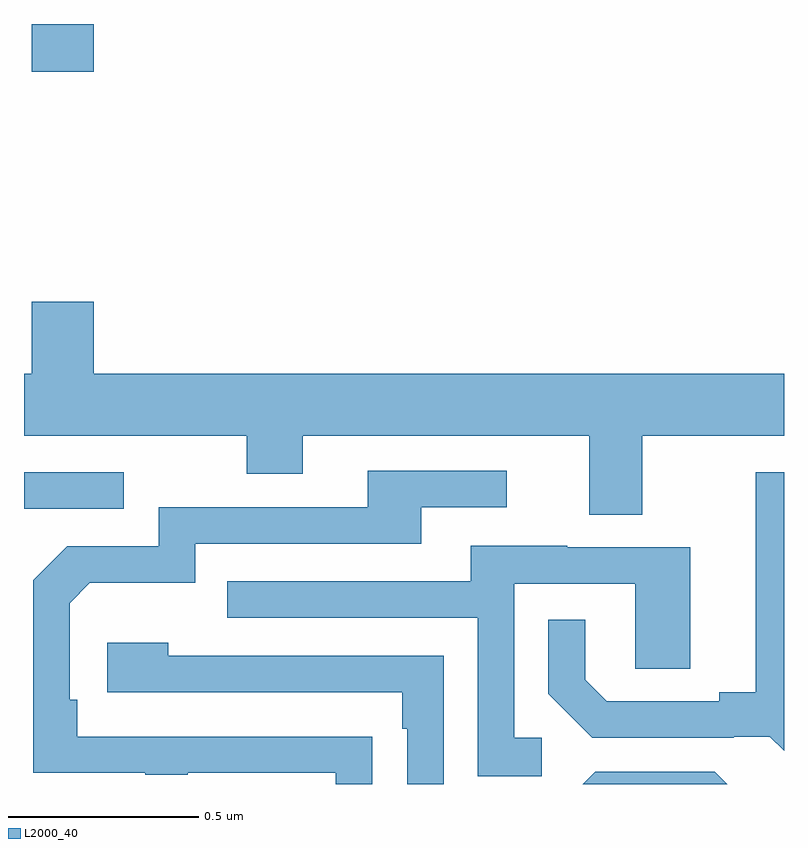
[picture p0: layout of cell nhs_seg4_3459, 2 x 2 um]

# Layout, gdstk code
import gdstk
lib = gdstk.Library(unit=1e-6, precision=1e-09)
def R(c, l, rs):  # rectangles x0, y0, x1, y1
    for r in rs: c.add(gdstk.rectangle(r[:2], r[2:], *l))
def P(c, l, *ps):  # polygons
    for p in ps: c.add(gdstk.Polygon(p, *l))
L2000_40 = (2000, 40)

nhs_seg4_3459 = lib.new_cell('nhs_seg4_3459')
R(nhs_seg4_3459, L2000_40, [(153,800.625,153.262,800.721), (153.02,801.774,153.184,801.9)])
P(nhs_seg4_3459, L2000_40, [(154.627,800.816),(155,800.816),(155,800.98),(153.184,800.98),(153.184,801.169),(153.02,801.169),(153.02,800.98),(153,800.98),(153,800.816),(153.586,800.816),(153.586,800.717),(153.733,800.717),(153.733,800.816),(154.487,800.816),(154.487,800.608),(154.627,800.608)],
  [(153.917,800.024),(153.815,800.024),(153.815,800.025),(153.14,800.025),(153.14,800.122),(153.12,800.122),(153.12,800.376),(153.173,800.429),(153.45,800.429),(153.45,800.532),(154.045,800.532),(154.045,800.628),(154.27,800.628),(154.27,800.724),(153.905,800.724),(153.905,800.628),(153.354,800.628),(153.354,800.526),(153.114,800.526),(153.024,800.436),(153.024,799.929),(153.319,799.929),(153.319,799.924),(153.431,799.924),(153.431,799.929),(153.821,799.929),(153.821,799.9),(153.917,799.9)],
  [(155,800.721),(154.925,800.721),(154.925,800.141),(154.829,800.141),(154.829,800.118),(154.534,800.118),(154.477,800.175),(154.477,800.332),(154.38,800.332),(154.38,800.138),(154.496,800.022),(154.868,800.022),(154.868,800.025),(154.962,800.025),(155,799.987)],
  [(154.363,800.022),(154.29,800.022),(154.29,800.427),(154.608,800.427),(154.608,800.203),(154.753,800.203),(154.753,800.523),(154.429,800.523),(154.429,800.527),(154.175,800.527),(154.175,800.433),(153.535,800.433),(153.535,800.337),(154.194,800.337),(154.194,799.921),(154.363,799.921)],
  [(154.104,800.238),(153.38,800.238),(153.38,800.272),(153.219,800.272),(153.219,800.142),(153.995,800.142),(153.995,800.045),(154.008,800.045),(154.008,799.9),(154.104,799.9)],
  [(154.818,799.932),(154.503,799.932),(154.471,799.9),(154.85,799.9)])

lib.write_gds('nhs_seg4_3459.gds')
